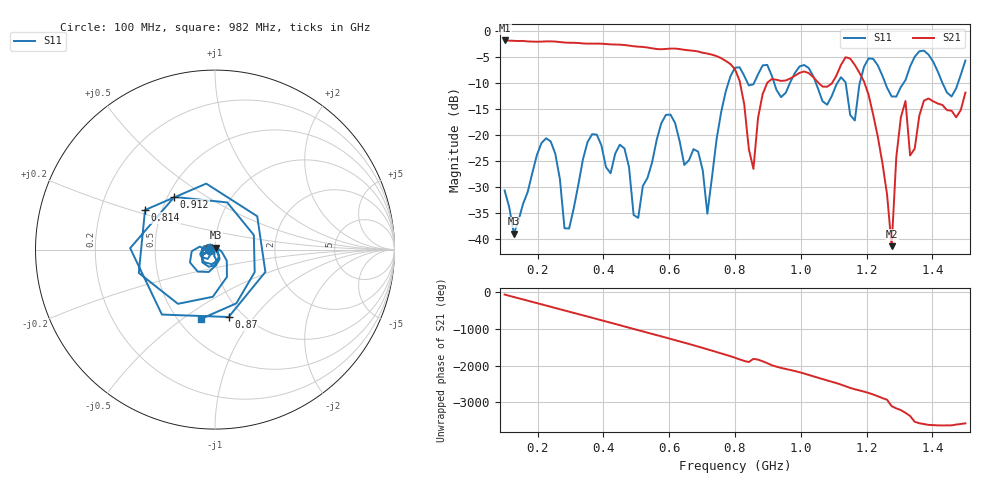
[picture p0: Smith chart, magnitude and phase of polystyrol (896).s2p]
! NanoVNA-App
! Date: 2025-09-25 15:36:51
! Start: 100MHz Stop: 1,5GHz Points: 101
! S-Parameter data: F S11 S21 S12 S22
# Hz S RI R 50
!  Frequency  S11_Real  S11_Imag  S21_Real  S21_Imag  S12_Real  S12_Imag  S22_Real  S22_Imag
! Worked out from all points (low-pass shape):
!   101 points, 100 MHz to 1.5 GHz, reference 50 ohm
!   highest |S21| = -1.80 dB at 100 MHz (marker M1); lowest = -41.5 dB at 1.276 GHz (marker M2)
!   |S21| within 3 dB of the highest: start of sweep to 743.1 MHz
!   lowest |S11| = -39.0 dB at 128 MHz (marker M3), VSWR 1.02, Z = 50.3 + j1.07 ohm
!   |S11| at or under -10 dB: start of sweep to 779.8 MHz; 1.046 GHz to 1.111 GHz (65.24 MHz wide, 6.05 % of centre); 1.256 GHz to 1.312 GHz (55.77 MHz wide, 4.34 % of centre) (the widest 3 of 7)
!   S12 and S22 are empty: the file has one direction only
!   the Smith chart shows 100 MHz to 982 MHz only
!   S11 on the Smith chart (normalised r, x): 100 MHz: 0.94, -0.01; 814 MHz: 0.40, +0.22; 870 MHz: 0.86, -0.75; 912 MHz: 0.54, +0.37; 982 MHz: 0.64, -0.59
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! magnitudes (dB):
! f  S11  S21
! 100 MHz  -30.7  -1.8
! 128 MHz  -39.0  -1.9
! 212 MHz  -21.6  -2.0
! 282 MHz  -38.0  -2.2
! 338 MHz  -24.7  -2.4
! 464 MHz  -22.6  -2.7
! 506 MHz  -36.0  -3.0
! 576 MHz  -17.8  -3.5
! 716 MHz  -35.2  -4.3
! 800 MHz  -7.1  -7.4
! 814 MHz  -7.0  -9.6
! 856 MHz  -10.3  -26.6
! 870 MHz  -8.3  -16.7
! 912 MHz  -8.6  -9.2
! 982 MHz  -8.1  -8.6
! 1.038 GHz  -8.7  -8.9
! 1.164 GHz  -17.2  -6.5
! 1.192 GHz  -6.9  -9.7
! 1.276 GHz  -12.6  -41.5
! 1.318 GHz  -9.4  -13.5
! 1.332 GHz  -6.8  -24.0
! 1.5 GHz  -5.7  -11.9
